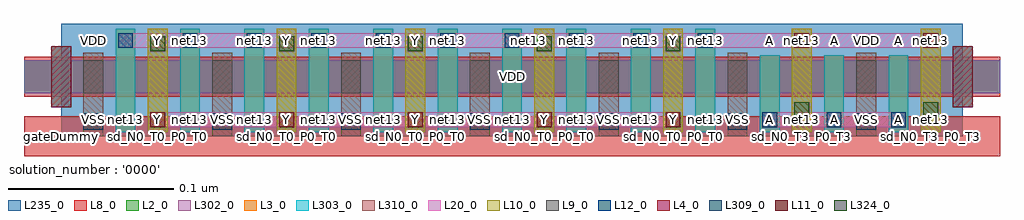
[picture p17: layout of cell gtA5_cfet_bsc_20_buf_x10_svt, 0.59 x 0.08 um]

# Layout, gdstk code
import gdstk
lib = gdstk.Library(unit=1e-6, precision=2.5e-10)
def R(c, l, rs):  # rectangles x0, y0, x1, y1
    for r in rs: c.add(gdstk.rectangle(r[:2], r[2:], *l))
def A(c, l, x, y, w, h, nx, ny, dx, dy):  # array of equal rectangles
    R(c, l, [(x+i*dx, y+j*dy, x+i*dx+w, y+j*dy+h) for i in range(nx) for j in range(ny)])
L2_0 = (2, 0)
L3_0 = (3, 0)
L4_0 = (4, 0)
L8_0 = (8, 0)
L9_0 = (9, 0)
L10_0 = (10, 0)
L11_0 = (11, 0)
L12_0 = (12, 0)
L20_0 = (20, 0)
L235_0 = (235, 0)
L302_0 = (302, 0)
L303_0 = (303, 0)
L309_0 = (309, 0)
L310_0 = (310, 0)
L324_0 = (324, 0)

gta5_cfet_bsc_20_buf_x10 = lib.new_cell('gtA5_cfet_bsc_20_buf_x10_svt')
R(gta5_cfet_bsc_20_buf_x10, L2_0, [(-0.0225,0.026,0.5685,0.046)])
A(gta5_cfet_bsc_20_buf_x10, L3_0, 0.033, 0.0025, 0.012, 0.0625, 10, 1, 0.039, 0)
A(gta5_cfet_bsc_20_buf_x10, L3_0, 0.423, 0.0025, 0.012, 0.0465, 3, 1, 0.039, 0)
R(gta5_cfet_bsc_20_buf_x10, L3_0, [(-0.006,0.0175,0.006,0.0545), (0.54,0.0175,0.552,0.0545)])
R(gta5_cfet_bsc_20_buf_x10, L4_0, [(-0.006,0.0175,0.006,0.0545), (0.54,0.0175,0.552,0.0545)])
R(gta5_cfet_bsc_20_buf_x10, L8_0, [(-0.0225,-0.012,0.5685,0.012), (-0.0225,0.024,0.5685,0.048)])
A(gta5_cfet_bsc_20_buf_x10, L9_0, 0.0135, 0.026, 0.012, 0.02, 7, 1, 0.078, 0)
A(gta5_cfet_bsc_20_buf_x10, L10_0, 0.0525, 0.0025, 0.012, 0.0625, 7, 1, 0.078, 0)
A(gta5_cfet_bsc_20_buf_x10, L11_0, 0.054, 0.0055, 0.009, 0.009, 5, 1, 0.078, 0)
R(gta5_cfet_bsc_20_buf_x10, L11_0, [(0.444,0.0535,0.453,0.0625), (0.522,0.0535,0.531,0.0625)])
A(gta5_cfet_bsc_20_buf_x10, L12_0, 0.4245, 0.0055, 0.009, 0.009, 3, 1, 0.039, 0)
A(gta5_cfet_bsc_20_buf_x10, L12_0, 0.0345, 0.0535, 0.009, 0.009, 10, 1, 0.039, 0)
R(gta5_cfet_bsc_20_buf_x10, L20_0, [(0.054,0.0055,0.375,0.0145), (0.4245,0.0055,0.5115,0.0145), (0.0345,0.0535,0.531,0.0625)])
R(gta5_cfet_bsc_20_buf_x10, L235_0, [(0,0,0.546,0.068)])
R(gta5_cfet_bsc_20_buf_x10, L302_0, [(-0.0225,0.026,0.5685,0.046)])
A(gta5_cfet_bsc_20_buf_x10, L303_0, 0.033, 0.0025, 0.012, 0.0625, 10, 1, 0.039, 0)
A(gta5_cfet_bsc_20_buf_x10, L303_0, 0.423, 0.0025, 0.012, 0.0465, 3, 1, 0.039, 0)
R(gta5_cfet_bsc_20_buf_x10, L303_0, [(-0.006,0.0175,0.006,0.0545), (0.54,0.0175,0.552,0.0545)])
A(gta5_cfet_bsc_20_buf_x10, L309_0, 0.0135, 0.004, 0.012, 0.01, 7, 1, 0.078, 0)
A(gta5_cfet_bsc_20_buf_x10, L310_0, 0.0135, 0, 0.012, 0.0505, 7, 1, 0.078, 0)
A(gta5_cfet_bsc_20_buf_x10, L310_0, 0.0525, 0.0025, 0.012, 0.0625, 7, 1, 0.078, 0)
A(gta5_cfet_bsc_20_buf_x10, L324_0, 0.054, 0.0515, 0.009, 0.009, 5, 1, 0.078, 0)
R(gta5_cfet_bsc_20_buf_x10, L324_0, [(0.444,0.0115,0.453,0.0205), (0.522,0.0115,0.531,0.0205)])
gta5_cfet_bsc_20_buf_x10.add(gdstk.Label('net13', (0.2828,0.058), layer=100, texttype=100))
gta5_cfet_bsc_20_buf_x10.add(gdstk.Label('gateDummy', (0,0), layer=103, texttype=103))
gta5_cfet_bsc_20_buf_x10.add(gdstk.Label('sd_N0_VSS_P0_VDD', (0.0195,0), layer=103, texttype=103))
gta5_cfet_bsc_20_buf_x10.add(gdstk.Label('gate_N0_T3_P0_T3', (0.039,0), layer=103, texttype=103))
gta5_cfet_bsc_20_buf_x10.add(gdstk.Label('sd_N0_T0_P0_T0', (0.0585,0), layer=103, texttype=103))
gta5_cfet_bsc_20_buf_x10.add(gdstk.Label('gate_N0_T3_P0_T3', (0.078,0), layer=103, texttype=103))
gta5_cfet_bsc_20_buf_x10.add(gdstk.Label('sd_N0_VSS_P0_VDD', (0.0975,0), layer=103, texttype=103))
gta5_cfet_bsc_20_buf_x10.add(gdstk.Label('gate_N0_T3_P0_T3', (0.117,0), layer=103, texttype=103))
gta5_cfet_bsc_20_buf_x10.add(gdstk.Label('sd_N0_T0_P0_T0', (0.1365,0), layer=103, texttype=103))
gta5_cfet_bsc_20_buf_x10.add(gdstk.Label('gate_N0_T3_P0_T3', (0.156,0), layer=103, texttype=103))
gta5_cfet_bsc_20_buf_x10.add(gdstk.Label('sd_N0_VSS_P0_VDD', (0.1755,0), layer=103, texttype=103))
gta5_cfet_bsc_20_buf_x10.add(gdstk.Label('gate_N0_T3_P0_T3', (0.195,0), layer=103, texttype=103))
gta5_cfet_bsc_20_buf_x10.add(gdstk.Label('sd_N0_T0_P0_T0', (0.2145,0), layer=103, texttype=103))
gta5_cfet_bsc_20_buf_x10.add(gdstk.Label('gate_N0_T3_P0_T3', (0.234,0), layer=103, texttype=103))
gta5_cfet_bsc_20_buf_x10.add(gdstk.Label('sd_N0_VSS_P0_VDD', (0.2535,0), layer=103, texttype=103))
gta5_cfet_bsc_20_buf_x10.add(gdstk.Label('gate_N0_T3_P0_T3', (0.273,0), layer=103, texttype=103))
gta5_cfet_bsc_20_buf_x10.add(gdstk.Label('sd_N0_T0_P0_T0', (0.2925,0), layer=103, texttype=103))
gta5_cfet_bsc_20_buf_x10.add(gdstk.Label('gate_N0_T3_P0_T3', (0.312,0), layer=103, texttype=103))
gta5_cfet_bsc_20_buf_x10.add(gdstk.Label('sd_N0_VSS_P0_VDD', (0.3315,0), layer=103, texttype=103))
gta5_cfet_bsc_20_buf_x10.add(gdstk.Label('gate_N0_T3_P0_T3', (0.351,0), layer=103, texttype=103))
gta5_cfet_bsc_20_buf_x10.add(gdstk.Label('sd_N0_T0_P0_T0', (0.3705,0), layer=103, texttype=103))
gta5_cfet_bsc_20_buf_x10.add(gdstk.Label('gate_N0_T3_P0_T3', (0.39,0), layer=103, texttype=103))
gta5_cfet_bsc_20_buf_x10.add(gdstk.Label('sd_N0_VSS_P0_VDD', (0.4095,0), layer=103, texttype=103))
gta5_cfet_bsc_20_buf_x10.add(gdstk.Label('gate_N0_T0_P0_T0', (0.429,0), layer=103, texttype=103))
gta5_cfet_bsc_20_buf_x10.add(gdstk.Label('sd_N0_T3_P0_T3', (0.4485,0), layer=103, texttype=103))
gta5_cfet_bsc_20_buf_x10.add(gdstk.Label('gate_N0_T0_P0_T0', (0.468,0), layer=103, texttype=103))
gta5_cfet_bsc_20_buf_x10.add(gdstk.Label('sd_N0_VSS_P0_VDD', (0.4875,0), layer=103, texttype=103))
gta5_cfet_bsc_20_buf_x10.add(gdstk.Label('gate_N0_T0_P0_T0', (0.507,0), layer=103, texttype=103))
gta5_cfet_bsc_20_buf_x10.add(gdstk.Label('sd_N0_T3_P0_T3', (0.5265,0), layer=103, texttype=103))
gta5_cfet_bsc_20_buf_x10.add(gdstk.Label('gateDummy', (0.546,0), layer=103, texttype=103))
gta5_cfet_bsc_20_buf_x10.add(gdstk.Label('}', (0,-0.0742), layer=104, texttype=104))
gta5_cfet_bsc_20_buf_x10.add(gdstk.Label('  power : None', (0,-0.0675), layer=104, texttype=104))
gta5_cfet_bsc_20_buf_x10.add(gdstk.Label('  performance : None', (0,-0.0607), layer=104, texttype=104))
gta5_cfet_bsc_20_buf_x10.add(gdstk.Label("  solution_hash : '13781889447473449859'", (0,-0.054), layer=104, texttype=104))
gta5_cfet_bsc_20_buf_x10.add(gdstk.Label('  number_m2 : 0', (0,-0.0473), layer=104, texttype=104))
gta5_cfet_bsc_20_buf_x10.add(gdstk.Label('  number_m1 : 0', (0,-0.0405), layer=104, texttype=104))
gta5_cfet_bsc_20_buf_x10.add(gdstk.Label('  number_m0cuts : 0', (0,-0.0338), layer=104, texttype=104))
gta5_cfet_bsc_20_buf_x10.add(gdstk.Label('  number_m0 : 3', (0,-0.027), layer=104, texttype=104))
gta5_cfet_bsc_20_buf_x10.add(gdstk.Label("  solution_number : '0000'", (0,-0.0203), layer=104, texttype=104))
gta5_cfet_bsc_20_buf_x10.add(gdstk.Label("  placement_id : '14615283006639497839'", (0,-0.0135), layer=104, texttype=104))
gta5_cfet_bsc_20_buf_x10.add(gdstk.Label('{', (0,-0.0067), layer=104, texttype=104))
gta5_cfet_bsc_20_buf_x10.add(gdstk.Label('VSS', (0.0195,0.0103), layer=105, texttype=105))
gta5_cfet_bsc_20_buf_x10.add(gdstk.Label('net13', (0.039,0.0103), layer=105, texttype=105))
gta5_cfet_bsc_20_buf_x10.add(gdstk.Label('Y', (0.0585,0.0103), layer=105, texttype=105))
gta5_cfet_bsc_20_buf_x10.add(gdstk.Label('net13', (0.078,0.0103), layer=105, texttype=105))
gta5_cfet_bsc_20_buf_x10.add(gdstk.Label('VSS', (0.0975,0.0103), layer=105, texttype=105))
gta5_cfet_bsc_20_buf_x10.add(gdstk.Label('net13', (0.117,0.0103), layer=105, texttype=105))
gta5_cfet_bsc_20_buf_x10.add(gdstk.Label('Y', (0.1365,0.0103), layer=105, texttype=105))
gta5_cfet_bsc_20_buf_x10.add(gdstk.Label('net13', (0.156,0.0103), layer=105, texttype=105))
gta5_cfet_bsc_20_buf_x10.add(gdstk.Label('VSS', (0.1755,0.0103), layer=105, texttype=105))
gta5_cfet_bsc_20_buf_x10.add(gdstk.Label('net13', (0.195,0.0103), layer=105, texttype=105))
gta5_cfet_bsc_20_buf_x10.add(gdstk.Label('Y', (0.2145,0.0103), layer=105, texttype=105))
gta5_cfet_bsc_20_buf_x10.add(gdstk.Label('net13', (0.234,0.0103), layer=105, texttype=105))
gta5_cfet_bsc_20_buf_x10.add(gdstk.Label('VSS', (0.2535,0.0103), layer=105, texttype=105))
gta5_cfet_bsc_20_buf_x10.add(gdstk.Label('net13', (0.273,0.0103), layer=105, texttype=105))
gta5_cfet_bsc_20_buf_x10.add(gdstk.Label('Y', (0.2925,0.0103), layer=105, texttype=105))
gta5_cfet_bsc_20_buf_x10.add(gdstk.Label('net13', (0.312,0.0103), layer=105, texttype=105))
gta5_cfet_bsc_20_buf_x10.add(gdstk.Label('VSS', (0.3315,0.0103), layer=105, texttype=105))
gta5_cfet_bsc_20_buf_x10.add(gdstk.Label('net13', (0.351,0.0103), layer=105, texttype=105))
gta5_cfet_bsc_20_buf_x10.add(gdstk.Label('Y', (0.3705,0.0103), layer=105, texttype=105))
gta5_cfet_bsc_20_buf_x10.add(gdstk.Label('net13', (0.39,0.0103), layer=105, texttype=105))
gta5_cfet_bsc_20_buf_x10.add(gdstk.Label('VSS', (0.4095,0.0103), layer=105, texttype=105))
gta5_cfet_bsc_20_buf_x10.add(gdstk.Label('A', (0.429,0.0103), layer=105, texttype=105))
gta5_cfet_bsc_20_buf_x10.add(gdstk.Label('net13', (0.4485,0.0103), layer=105, texttype=105))
gta5_cfet_bsc_20_buf_x10.add(gdstk.Label('A', (0.468,0.0103), layer=105, texttype=105))
gta5_cfet_bsc_20_buf_x10.add(gdstk.Label('VSS', (0.4875,0.0103), layer=105, texttype=105))
gta5_cfet_bsc_20_buf_x10.add(gdstk.Label('A', (0.507,0.0103), layer=105, texttype=105))
gta5_cfet_bsc_20_buf_x10.add(gdstk.Label('net13', (0.5265,0.0103), layer=105, texttype=105))
gta5_cfet_bsc_20_buf_x10.add(gdstk.Label('VDD', (0.0195,0.0578), layer=105, texttype=105))
gta5_cfet_bsc_20_buf_x10.add(gdstk.Label('net13', (0.039,0.0578), layer=105, texttype=105))
gta5_cfet_bsc_20_buf_x10.add(gdstk.Label('Y', (0.0585,0.0578), layer=105, texttype=105))
gta5_cfet_bsc_20_buf_x10.add(gdstk.Label('net13', (0.078,0.0578), layer=105, texttype=105))
gta5_cfet_bsc_20_buf_x10.add(gdstk.Label('VDD', (0.0975,0.0578), layer=105, texttype=105))
gta5_cfet_bsc_20_buf_x10.add(gdstk.Label('net13', (0.117,0.0578), layer=105, texttype=105))
gta5_cfet_bsc_20_buf_x10.add(gdstk.Label('Y', (0.1365,0.0578), layer=105, texttype=105))
gta5_cfet_bsc_20_buf_x10.add(gdstk.Label('net13', (0.156,0.0578), layer=105, texttype=105))
gta5_cfet_bsc_20_buf_x10.add(gdstk.Label('VDD', (0.1755,0.0578), layer=105, texttype=105))
gta5_cfet_bsc_20_buf_x10.add(gdstk.Label('net13', (0.195,0.0578), layer=105, texttype=105))
gta5_cfet_bsc_20_buf_x10.add(gdstk.Label('Y', (0.2145,0.0578), layer=105, texttype=105))
gta5_cfet_bsc_20_buf_x10.add(gdstk.Label('net13', (0.234,0.0578), layer=105, texttype=105))
gta5_cfet_bsc_20_buf_x10.add(gdstk.Label('VDD', (0.2535,0.0578), layer=105, texttype=105))
gta5_cfet_bsc_20_buf_x10.add(gdstk.Label('net13', (0.273,0.0578), layer=105, texttype=105))
gta5_cfet_bsc_20_buf_x10.add(gdstk.Label('Y', (0.2925,0.0578), layer=105, texttype=105))
gta5_cfet_bsc_20_buf_x10.add(gdstk.Label('net13', (0.312,0.0578), layer=105, texttype=105))
gta5_cfet_bsc_20_buf_x10.add(gdstk.Label('VDD', (0.3315,0.0578), layer=105, texttype=105))
gta5_cfet_bsc_20_buf_x10.add(gdstk.Label('net13', (0.351,0.0578), layer=105, texttype=105))
gta5_cfet_bsc_20_buf_x10.add(gdstk.Label('Y', (0.3705,0.0578), layer=105, texttype=105))
gta5_cfet_bsc_20_buf_x10.add(gdstk.Label('net13', (0.39,0.0578), layer=105, texttype=105))
gta5_cfet_bsc_20_buf_x10.add(gdstk.Label('VDD', (0.4095,0.0578), layer=105, texttype=105))
gta5_cfet_bsc_20_buf_x10.add(gdstk.Label('A', (0.429,0.0578), layer=105, texttype=105))
gta5_cfet_bsc_20_buf_x10.add(gdstk.Label('net13', (0.4485,0.0578), layer=105, texttype=105))
gta5_cfet_bsc_20_buf_x10.add(gdstk.Label('A', (0.468,0.0578), layer=105, texttype=105))
gta5_cfet_bsc_20_buf_x10.add(gdstk.Label('VDD', (0.4875,0.0578), layer=105, texttype=105))
gta5_cfet_bsc_20_buf_x10.add(gdstk.Label('A', (0.507,0.0578), layer=105, texttype=105))
gta5_cfet_bsc_20_buf_x10.add(gdstk.Label('net13', (0.5265,0.0578), layer=105, texttype=105))
gta5_cfet_bsc_20_buf_x10.add(gdstk.Label('VSS', (0.273,0), layer=8, texttype=0))
gta5_cfet_bsc_20_buf_x10.add(gdstk.Label('VDD', (0.273,0.036), layer=8, texttype=0))
gta5_cfet_bsc_20_buf_x10.add(gdstk.Label('Y', (0.2145,0.01), layer=20, texttype=251))
gta5_cfet_bsc_20_buf_x10.add(gdstk.Label('A', (0.468,0.01), layer=20, texttype=251))
gta5_cfet_bsc_20_buf_x10.add(gdstk.Label('gtA5_cfet_bsc_20nm_buf_x10_rvt_0', (0,0), layer=235, texttype=0))

lib.write_gds('gtA5_cfet_bsc_20_buf_x10_svt.gds')
